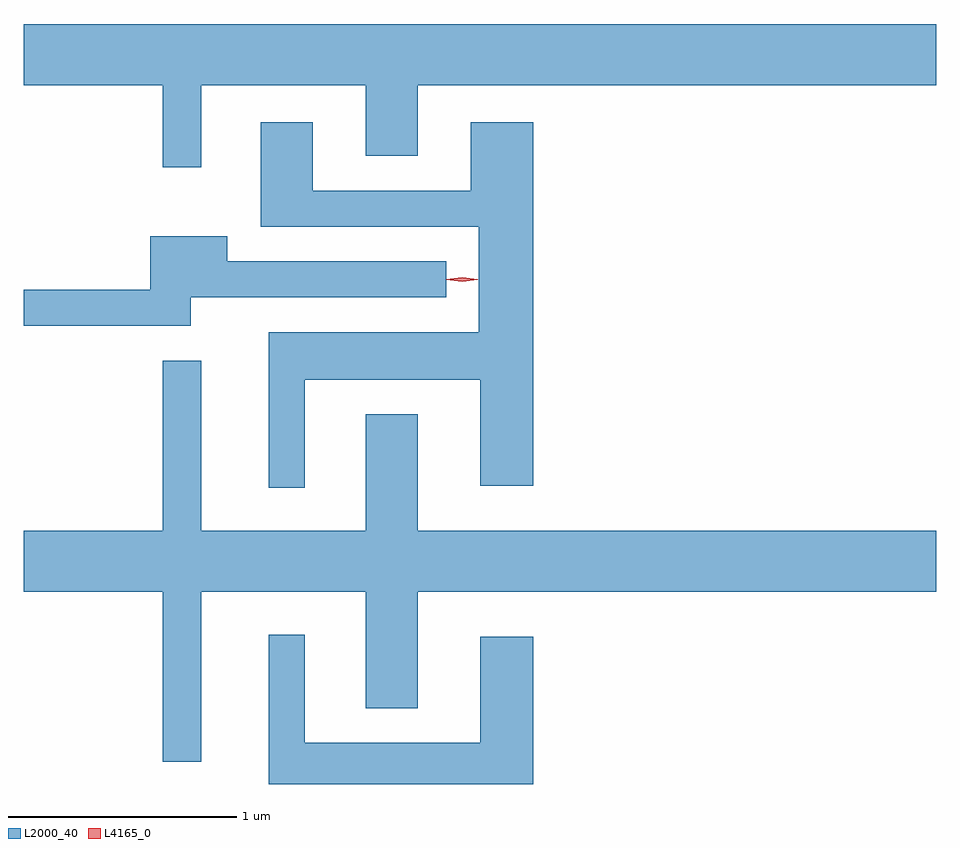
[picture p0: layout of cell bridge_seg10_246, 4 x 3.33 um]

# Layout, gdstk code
import gdstk
lib = gdstk.Library(unit=1e-6, precision=1e-09)
def P(c, l, *ps):  # polygons
    for p in ps: c.add(gdstk.Polygon(p, *l))
L2000_40 = (2000, 40)
L4165_0 = (4165, 0)

bridge_seg10_246 = lib.new_cell('bridge_seg10_246')
P(bridge_seg10_246, L2000_40, [(1806.519,2093.936),(1807.241,2093.936),(1807.241,2093.626),(1807.469,2093.626),(1807.469,2093.936),(1809.741,2093.936),(1809.741,2094.204),(1805.741,2094.204),(1805.741,2093.936),(1806.351,2093.936),(1806.351,2093.577),(1806.519,2093.577)],
  [(1806.974,2092.646),(1807.741,2092.646),(1807.741,2092.181),(1807.974,2092.181),(1807.974,2093.774),(1807.701,2093.774),(1807.701,2093.474),(1807.009,2093.474),(1807.009,2093.774),(1806.781,2093.774),(1806.781,2093.316),(1807.736,2093.316),(1807.736,2092.854),(1806.816,2092.854),(1806.816,2092.173),(1806.974,2092.173)],
  [(1806.474,2093.006),(1807.593,2093.006),(1807.593,2093.164),(1806.634,2093.164),(1806.634,2093.274),(1806.296,2093.274),(1806.296,2093.039),(1805.741,2093.039),(1805.741,2092.881),(1806.474,2092.881)],
  [(1806.519,2091.716),(1807.241,2091.716),(1807.241,2091.206),(1807.469,2091.206),(1807.469,2091.716),(1809.741,2091.716),(1809.741,2091.984),(1807.469,2091.984),(1807.469,2092.494),(1807.241,2092.494),(1807.241,2091.984),(1806.519,2091.984),(1806.519,2092.728),(1806.351,2092.728),(1806.351,2091.984),(1805.741,2091.984),(1805.741,2091.716),(1806.351,2091.716),(1806.351,2090.972),(1806.519,2090.972)],
  [(1807.974,2091.519),(1807.741,2091.519),(1807.741,2091.054),(1806.974,2091.054),(1806.974,2091.528),(1806.816,2091.528),(1806.816,2090.874),(1807.974,2090.874)])
P(bridge_seg10_246, L4165_0, [(1807.664,2093.075),(1807.597,2093.085),(1807.597,2093.085),(1807.597,2093.086),(1807.664,2093.095),(1807.729,2093.086),(1807.73,2093.085),(1807.729,2093.085)],
  [(1807.663,2093.075),(1807.594,2093.084),(1807.593,2093.085),(1807.594,2093.086),(1807.663,2093.095),(1807.732,2093.086),(1807.732,2093.085),(1807.732,2093.084)])

lib.write_gds('bridge_seg10_246.gds')
